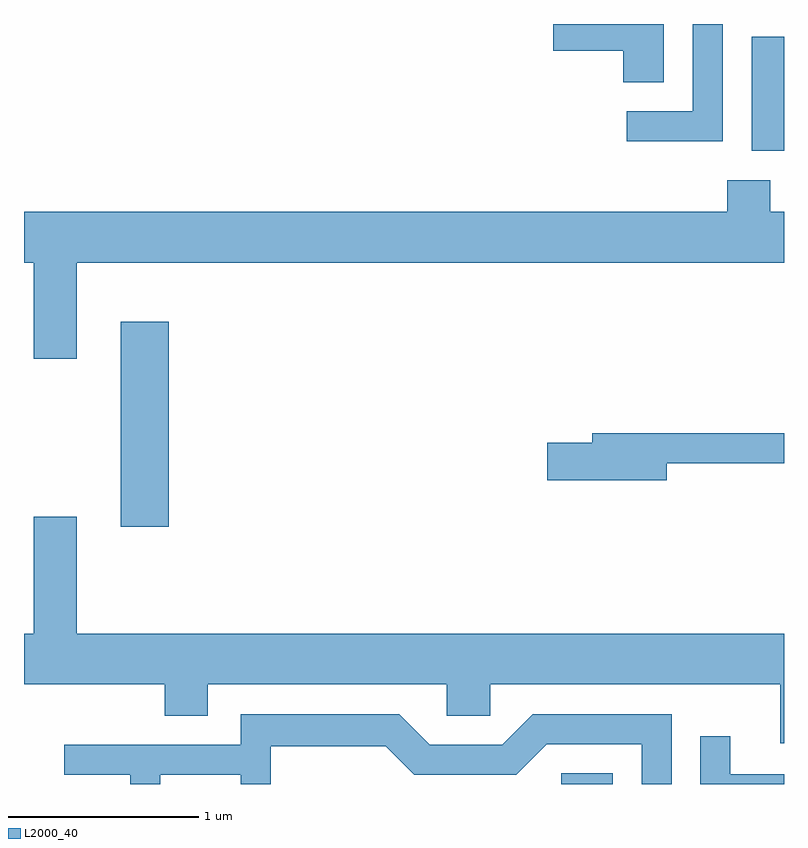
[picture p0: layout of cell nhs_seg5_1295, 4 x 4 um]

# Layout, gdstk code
import gdstk
lib = gdstk.Library(unit=1e-6, precision=1e-09)
def R(c, l, rs):  # rectangles x0, y0, x1, y1
    for r in rs: c.add(gdstk.rectangle(r[:2], r[2:], *l))
def P(c, l, *ps):  # polygons
    for p in ps: c.add(gdstk.Polygon(p, *l))
L2000_40 = (2000, 40)

nhs_seg5_1295 = lib.new_cell('nhs_seg5_1295')
R(nhs_seg5_1295, L2000_40, [(226.438,1434.072,226.709,1434.129), (224.121,1435.426,224.374,1436.504), (227.441,1437.406,227.611,1438.004)])
P(nhs_seg5_1295, L2000_40, [(226.979,1438.072),(226.396,1438.072),(226.396,1437.931),(226.766,1437.931),(226.766,1437.766),(226.979,1437.766)],
  [(227.289,1438.072),(227.131,1438.072),(227.131,1437.614),(226.783,1437.614),(226.783,1437.456),(227.289,1437.456)],
  [(223.889,1436.816),(227.611,1436.816),(227.611,1437.084),(227.539,1437.084),(227.539,1437.249),(227.311,1437.249),(227.311,1437.084),(223.611,1437.084),(223.611,1436.816),(223.661,1436.816),(223.661,1436.311),(223.889,1436.311)],
  [(226.994,1435.761),(227.611,1435.761),(227.611,1435.919),(226.601,1435.919),(226.601,1435.869),(226.366,1435.869),(226.366,1435.671),(226.994,1435.671)],
  [(227.611,1434.864),(223.889,1434.864),(223.889,1435.479),(223.661,1435.479),(223.661,1434.864),(223.611,1434.864),(223.611,1434.596),(224.351,1434.596),(224.351,1434.431),(224.579,1434.431),(224.579,1434.596),(225.836,1434.596),(225.836,1434.431),(226.064,1434.431),(226.064,1434.596),(227.591,1434.596),(227.591,1434.286),(227.611,1434.286)],
  [(224.329,1434.121),(224.751,1434.121),(224.751,1434.072),(224.909,1434.072),(224.909,1434.271),(225.514,1434.271),(225.664,1434.121),(226.202,1434.121),(226.362,1434.281),(226.861,1434.281),(226.861,1434.072),(227.019,1434.072),(227.019,1434.439),(226.289,1434.439),(226.129,1434.279),(225.747,1434.279),(225.587,1434.439),(224.751,1434.439),(224.751,1434.279),(223.823,1434.279),(223.823,1434.121),(224.171,1434.121),(224.171,1434.072),(224.329,1434.072)],
  [(227.611,1434.124),(227.329,1434.124),(227.329,1434.323),(227.171,1434.323),(227.171,1434.072),(227.611,1434.072)])

lib.write_gds('nhs_seg5_1295.gds')
